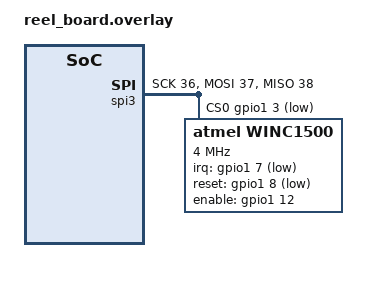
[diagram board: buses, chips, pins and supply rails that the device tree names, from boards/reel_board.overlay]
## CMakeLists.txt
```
# SPDX-License-Identifier: Apache-2.0

cmake_minimum_required(VERSION 3.13.1)

find_package(Zephyr REQUIRED HINTS $ENV{ZEPHYR_BASE})
project(wifi)

FILE(GLOB app_sources src/*.c)
target_sources(app PRIVATE ${app_sources})
```

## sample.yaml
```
common:
  harness: net
  tags: net wifi
sample:
  description: Test wifi driver and APIs functionality
  name: WiFi sample app
tests:
  sample.net.wifi:
    platform_allow: cc3220sf_launchxl disco_l475_iot1
  sample.net.wifi.esp_8266:
    extra_args: SHIELD=esp_8266
    platform_allow: sam4e_xpro
  sample.net.wifi.esp_8266_arduino:
    extra_args: SHIELD=esp_8266_arduino
    platform_allow: frdm_k64f disco_l475_iot1
  sample.net.wifi.inventek_eswifi_arduino_uart:
    extra_args: SHIELD=inventek_eswifi_arduino_uart
    platform_allow: frdm_k64f nucleo_f767zi
  sample.net.wifi.inventek_eswifi_arduino_spi:
    extra_args: SHIELD=inventek_eswifi_arduino_spi
    platform_allow: frdm_k64f nucleo_f767zi
```

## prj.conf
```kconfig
CONFIG_EARLY_CONSOLE=y

CONFIG_NETWORKING=y
CONFIG_TEST_RANDOM_GENERATOR=y

CONFIG_NET_TX_STACK_SIZE=2048
CONFIG_NET_RX_STACK_SIZE=2048

CONFIG_NET_PKT_RX_COUNT=10
CONFIG_NET_PKT_TX_COUNT=10
CONFIG_NET_BUF_RX_COUNT=20
CONFIG_NET_BUF_TX_COUNT=20
CONFIG_NET_MAX_CONTEXTS=10

CONFIG_NET_IPV4=y
CONFIG_NET_IPV6=n

CONFIG_NET_TCP=y

CONFIG_NET_LOG=y
CONFIG_INIT_STACKS=y

CONFIG_NET_SHELL=y

CONFIG_NET_STATISTICS=y
CONFIG_NET_STATISTICS_PERIODIC_OUTPUT=n

CONFIG_WIFI=y
CONFIG_WIFI_LOG_LEVEL_ERR=y
CONFIG_NET_L2_WIFI_SHELL=y
```

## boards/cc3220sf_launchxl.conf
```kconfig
# Conf file to test the net_wifi shell module with the cc3220sf WiFi driver
# cmake .. -DBOARD=cc3220sf_launchxl
CONFIG_WIFI_SIMPLELINK=y
# Debugging
CONFIG_WIFI_LOG_LEVEL_DBG=y
CONFIG_DEBUG=y
```

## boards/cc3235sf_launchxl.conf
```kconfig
# Conf file to test the net_wifi shell module with the cc3235sf WiFi driver
# cmake .. -DBOARD=cc3235sf_launchxl
CONFIG_WIFI_SIMPLELINK=y
# Debugging
CONFIG_WIFI_LOG_LEVEL_DBG=y
CONFIG_DEBUG=y
CONFIG_CC3235SF_DEBUG=y
```

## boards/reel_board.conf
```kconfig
CONFIG_GPIO=y
CONFIG_SPI=y

CONFIG_WIFI_WINC1500=y
CONFIG_WIFI_WINC1500_REGION_EUROPE=y
```

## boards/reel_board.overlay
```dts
/*
 * Copyright (c) 2020 Phytec Messtechnik GmbH
 *
 * SPDX-License-Identifier: Apache-2.0
 */

&spi3 {
	status = "ok";
	cs-gpios = <&gpio1 3 GPIO_ACTIVE_LOW>;
	sck-pin = <36>;
	mosi-pin = <37>;
	miso-pin = <38>;

	winc1500@0 {
		status = "ok";
		compatible = "atmel,winc1500";
		reg = <0x0>;
		label = "winc1500";
		spi-max-frequency = <4000000>;
		irq-gpios = <&gpio1 7 1>;
		reset-gpios = <&gpio1 8 1>;
		enable-gpios = <&gpio1 12 0>;

	};
};
```

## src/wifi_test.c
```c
/*
 * Copyright (c) 2016 Intel Corporation.
 *
 * SPDX-License-Identifier: Apache-2.0
 */

#include <zephyr.h>
#include <errno.h>

void main(void)
{

}
```
